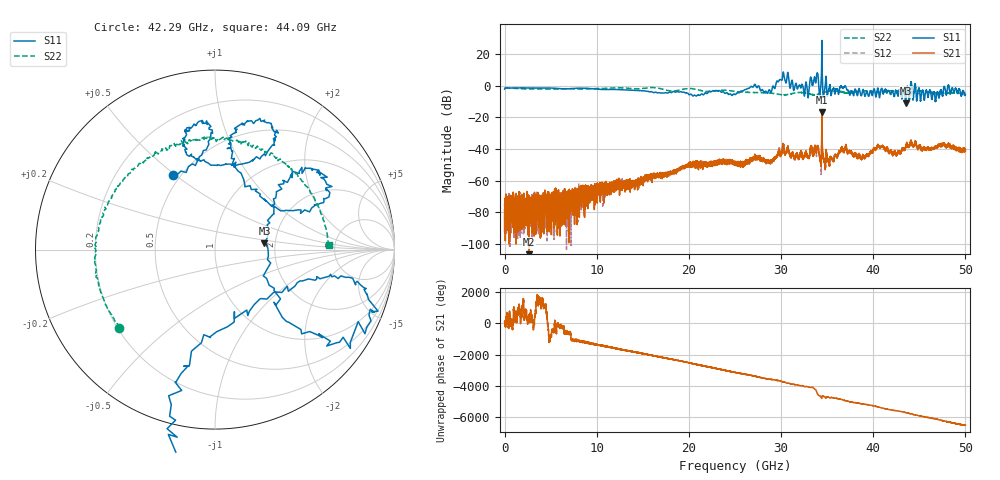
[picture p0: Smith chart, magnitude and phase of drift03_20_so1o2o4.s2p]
!Created with skrf (http://scikit-rf.org).
# Hz S RI R 50.0
!freq ReS11 ImS11 ReS21 ImS21 ReS12 ImS12 ReS22 ImS22
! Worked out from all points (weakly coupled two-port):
!   10000 points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, 5.3 MHz to 50 GHz, reference 50 ohm
!   highest |S21| = -16.82 dB at 34.43 GHz (marker M1); lowest = -107.6 dB at 2.655 GHz (marker M2)
!   lowest |S11| = -11.1 dB at 43.52 GHz (marker M3), VSWR 1.77, Z = 87.7 + j6.77 ohm
!   |S11| at or under -10 dB: 43.50173 GHz to 43.53938 GHz (37.64 MHz wide, 0.0865 % of centre); 43.54206 GHz to 43.55225 GHz (10.19 MHz wide, 0.0234 % of centre); 46.74978 GHz to 46.75023 GHz (446.5 kHz wide, 0.000955 % of centre)
!   |S22| runs from -5.8 to -1.1 dB; largest |S21 - S12| = 0.042
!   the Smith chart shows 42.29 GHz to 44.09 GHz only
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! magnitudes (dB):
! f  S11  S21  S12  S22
! 5.3 MHz  -2.1  -81.2  -86.4  -1.3
! 2.655 GHz  -1.4  -107.6  -87.2  -2.0
! 8.34 GHz  -1.5  -71.4  -65.5  -2.1
! 16.67 GHz  -4.4  -55.5  -55.8  -1.5
! 20.24 GHz  -5.4  -49.4  -49.6  -1.8
! 25.01 GHz  -5.5  -49.8  -49.2  -3.5
! 27.02 GHz  -0.4  -45.4  -45.7  -4.3
! 28.72 GHz  -2.5  -47.7  -47.7  -4.5
! 30.14 GHz  4.4  -40.1  -41.2  -5.7
! 32.74 GHz  2.0  -42.2  -42.3  -4.6
! 33.34 GHz  2.5  -39.3  -40.0  -5.6
! 33.82 GHz  3.9  -41.2  -41.7  -5.7
! 34.43 GHz  28.6  -16.8  -18.7  -4.6
! 35.33 GHz  0.5  -46.4  -45.9  -3.4
! 36.84 GHz  -0.7  -41.9  -41.7  -4.3
! 38.85 GHz  -2.9  -43.8  -43.9  -3.2
! 40.61 GHz  -4.9  -38.6  -38.6  -4.0
! 41.67 GHz  -3.1  -41.6  -42.6  -3.3
! 43.52 GHz  -11.1  -39.1  -39.1  -4.2
! 46.94 GHz  -4.1  -38.9  -38.7  -4.9
! 47.57 GHz  -4.9  -37.4  -37.3  -4.7
! 50 GHz  -5.4  -40.4  -41.8  -4.5
